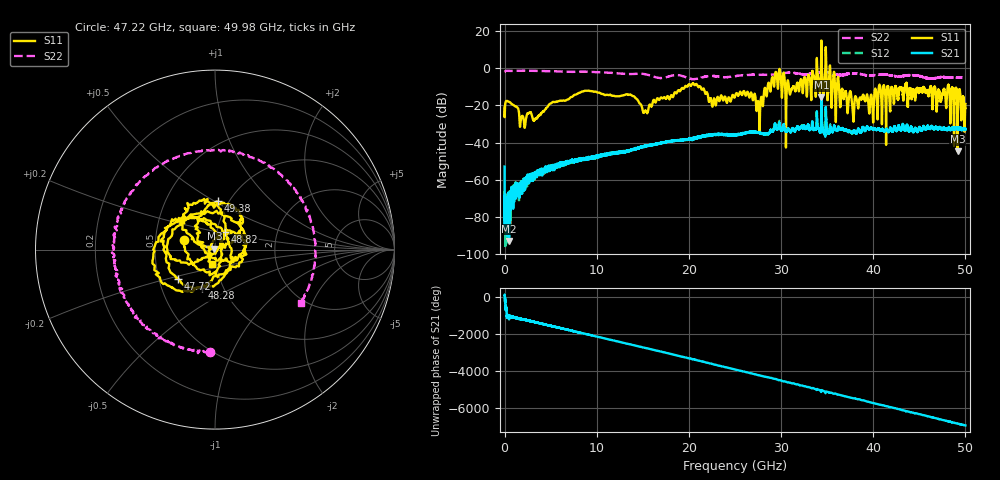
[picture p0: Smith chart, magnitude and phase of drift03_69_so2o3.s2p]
!Created with skrf (http://scikit-rf.org).
# Hz S RI R 50.0
!freq ReS11 ImS11 ReS21 ImS21 ReS12 ImS12 ReS22 ImS22
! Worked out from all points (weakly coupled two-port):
!   10001 points, 300 kHz to 50 GHz, reference 50 ohm
!   highest |S21| = -15.61 dB at 34.37 GHz (marker M1); lowest = -92.8 dB at 485.3 MHz (marker M2)
!   lowest |S11| = -44.6 dB at 49.16 GHz (marker M3), VSWR 1.01, Z = 49.6 + j0.463 ohm
!   |S11| at or under -10 dB: start of sweep to 19.55 GHz; 21.25 GHz to 28.55 GHz (7.297 GHz wide, 29.3 % of centre); 36.28 GHz to 40.62 GHz (4.333 GHz wide, 11.3 % of centre) (the widest 3 of 40)
!   |S22| runs from -5.9 to -1.3 dB; largest |S21 - S12| = 0.028
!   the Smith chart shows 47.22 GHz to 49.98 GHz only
!   S11 on the Smith chart (normalised r, x): 47.22 GHz: 0.70, +0.08; 47.72 GHz: 0.63, -0.22; 48.28 GHz: 0.79, -0.36; 48.82 GHz: 1.10, +0.22; 49.38 GHz: 0.89, +0.52; 49.98 GHz: 0.96, -0.16
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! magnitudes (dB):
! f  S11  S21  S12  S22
! 300 kHz  -21.1  -52.8  -65.9  -2.1
! 485.3 MHz  -18.1  -92.8  -66.3  -1.5
! 3.295 GHz  -27.3  -56.3  -57.4  -1.5
! 8.335 GHz  -12.6  -49.1  -48.8  -1.9
! 15.28 GHz  -22.8  -41.8  -41.8  -3.3
! 16.67 GHz  -16.5  -40.6  -40.8  -5.2
! 25 GHz  -15.3  -35.7  -35.7  -4.3
! 27.52 GHz  -17.8  -34.6  -34.5  -3.5
! 29.28 GHz  -8.6  -31.0  -30.7  -3.3
! 30.73 GHz  -6.6  -32.4  -32.6  -2.5
! 33.34 GHz  -7.6  -31.2  -31.2  -2.9
! 34.37 GHz  14.9  -15.6  -16.8  -2.3
! 37.87 GHz  -28.7  -33.7  -33.9  -2.8
! 41.67 GHz  -11.4  -34.4  -33.8  -3.7
! 47.22 GHz  -14.9  -31.9  -32.0  -4.9
! 47.72 GHz  -11.7  -32.4  -32.2  -4.8
! 48.28 GHz  -12.9  -32.8  -32.9  -4.9
! 48.82 GHz  -18.7  -32.7  -32.4  -5.1
! 49.16 GHz  -44.6  -32.3  -32.2  -5.1
! 49.38 GHz  -11.4  -32.3  -32.4  -5.1
! 49.98 GHz  -21.7  -32.7  -32.8  -5.0
! 50 GHz  -19.2  -32.9  -33.1  -5.0
